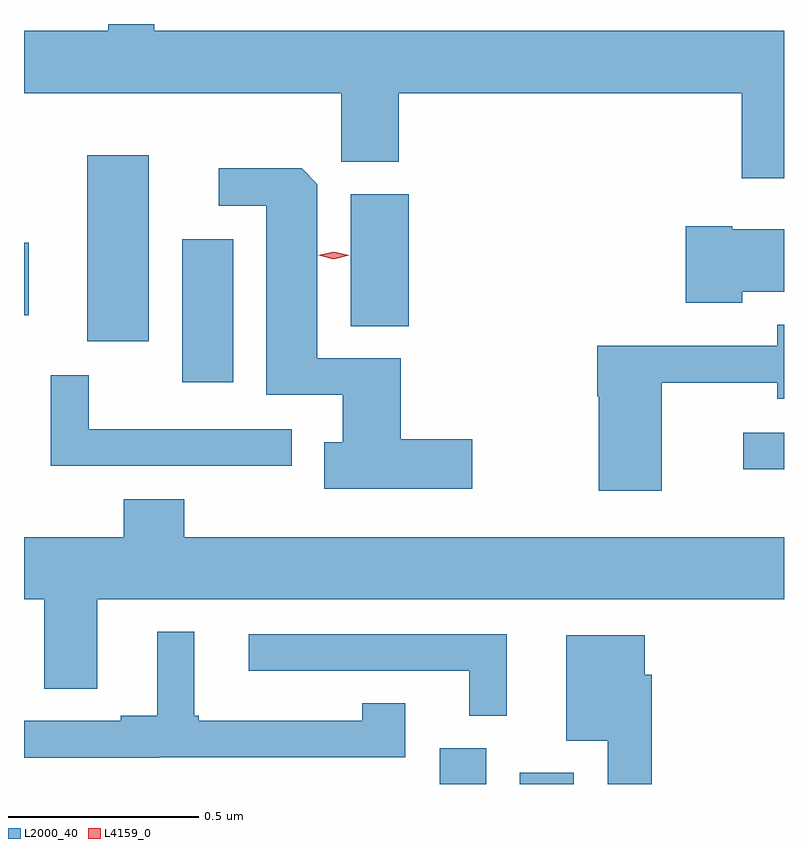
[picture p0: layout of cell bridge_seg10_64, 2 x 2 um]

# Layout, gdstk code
import gdstk
lib = gdstk.Library(unit=1e-6, precision=1e-09)
def R(c, l, rs):  # rectangles x0, y0, x1, y1
    for r in rs: c.add(gdstk.rectangle(r[:2], r[2:], *l))
def P(c, l, *ps):  # polygons
    for p in ps: c.add(gdstk.Polygon(p, *l))
L2000_40 = (2000, 40)
L4159_0 = (4159, 0)

bridge_seg10_64 = lib.new_cell('bridge_seg10_64')
R(bridge_seg10_64, L2000_40, [(814.712,1257.206,814.834,1257.3), (814.922,1257.206,815.065,1257.235), (815.511,1258.034,815.618,1258.131), (814.034,1258.263,814.168,1258.639), (813.785,1258.371,813.946,1258.861), (814.478,1258.411,814.631,1258.758), (813.618,1258.439,813.631,1258.63)])
P(bridge_seg10_64, L2000_40, [(815.618,1259.188),(813.961,1259.188),(813.961,1259.206),(813.84,1259.206),(813.84,1259.188),(813.618,1259.188),(813.618,1259.024),(814.453,1259.024),(814.453,1258.843),(814.604,1258.843),(814.604,1259.024),(815.507,1259.024),(815.507,1258.8),(815.618,1258.8)],
  [(814.798,1258.113),(814.61,1258.113),(814.61,1258.326),(814.39,1258.326),(814.39,1258.784),(814.349,1258.826),(814.131,1258.826),(814.131,1258.728),(814.256,1258.728),(814.256,1258.23),(814.457,1258.23),(814.457,1258.105),(814.408,1258.105),(814.408,1257.983),(814.798,1257.983)],
  [(815.508,1258.502),(815.618,1258.502),(815.618,1258.666),(815.482,1258.666),(815.482,1258.674),(815.36,1258.674),(815.36,1258.472),(815.508,1258.472)],
  [(815.296,1258.262),(815.6,1258.262),(815.6,1258.22),(815.618,1258.22),(815.618,1258.414),(815.6,1258.414),(815.6,1258.359),(815.126,1258.359),(815.126,1258.226),(815.131,1258.226),(815.131,1257.978),(815.296,1257.978)],
  [(814.323,1258.14),(813.789,1258.14),(813.789,1258.282),(813.689,1258.282),(813.689,1258.044),(814.323,1258.044)],
  [(813.811,1257.692),(815.618,1257.692),(815.618,1257.856),(814.04,1257.856),(814.04,1257.955),(813.88,1257.955),(813.88,1257.856),(813.618,1257.856),(813.618,1257.692),(813.671,1257.692),(813.671,1257.457),(813.811,1257.457)],
  [(813.972,1257.276),(814.621,1257.276),(814.621,1257.419),(814.508,1257.419),(814.508,1257.373),(814.078,1257.373),(814.078,1257.385),(814.066,1257.385),(814.066,1257.607),(813.968,1257.607),(813.968,1257.385),(813.872,1257.385),(813.872,1257.372),(813.618,1257.372),(813.618,1257.275),(813.972,1257.275)],
  [(814.888,1257.6),(814.209,1257.6),(814.209,1257.504),(814.79,1257.504),(814.79,1257.385),(814.888,1257.385)],
  [(815.27,1257.494),(815.251,1257.494),(815.251,1257.598),(815.045,1257.598),(815.045,1257.32),(815.154,1257.32),(815.154,1257.206),(815.27,1257.206)])
P(bridge_seg10_64, L4159_0, [(814.433,1258.587),(814.392,1258.597),(814.392,1258.597),(814.392,1258.597),(814.433,1258.607),(814.474,1258.597),(814.474,1258.597),(814.474,1258.597)])

lib.write_gds('bridge_seg10_64.gds')
